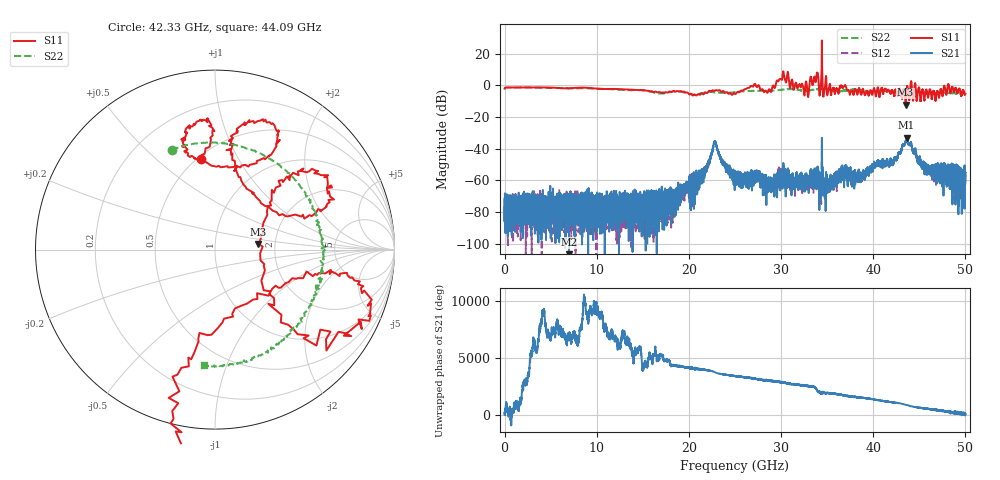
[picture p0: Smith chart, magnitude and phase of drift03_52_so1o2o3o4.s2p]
!Created with skrf (http://scikit-rf.org).
# Hz S RI R 50.0
!freq ReS11 ImS11 ReS21 ImS21 ReS12 ImS12 ReS22 ImS22
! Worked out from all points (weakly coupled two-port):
!   10000 points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, 5.3 MHz to 50 GHz, reference 50 ohm
!   highest |S21| = -33.03 dB at 43.63 GHz (marker M1); lowest = -115.4 dB at 6.995 GHz (marker M2)
!   lowest |S11| = -12.3 dB at 43.52 GHz (marker M3), VSWR 1.64, Z = 81.6 + j5.55 ohm
!   |S11| at or under -10 dB: 43.484 GHz to 43.55571 GHz (71.72 MHz wide, 0.165 % of centre); 45.13974 GHz to 45.14025 GHz (503.7 kHz wide, 0.00112 % of centre)
!   |S22| runs from -5.9 to -1.3 dB; largest |S21 - S12| = 0.015
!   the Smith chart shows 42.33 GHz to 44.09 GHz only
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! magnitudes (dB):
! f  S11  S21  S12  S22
! 5.3 MHz  -2.1  -76.9  -71.8  -2.1
! 6.995 GHz  -1.9  -115.4  -76.7  -2.0
! 8.34 GHz  -1.5  -75.5  -71.7  -1.9
! 16.67 GHz  -4.4  -79.3  -79.2  -5.2
! 20.89 GHz  -6.1  -65.3  -59.0  -5.7
! 21.96 GHz  -4.9  -51.7  -52.6  -4.4
! 22.82 GHz  -3.4  -35.6  -35.3  -4.5
! 25.01 GHz  -5.5  -58.6  -58.6  -4.3
! 27.01 GHz  -0.5  -58.5  -56.5  -3.6
! 28.92 GHz  -4.2  -58.7  -62.7  -3.5
! 30.14 GHz  4.4  -59.4  -58.3  -2.8
! 32.74 GHz  2.0  -58.6  -65.9  -3.3
! 33.34 GHz  2.6  -60.0  -57.1  -2.9
! 33.82 GHz  4.0  -55.9  -59.8  -2.5
! 35 GHz  -6.1  -59.3  -60.8  -2.4
! 36.51 GHz  -0.4  -55.0  -55.1  -3.7
! 38.47 GHz  -1.7  -54.9  -57.2  -3.0
! 41.67 GHz  -3.0  -49.3  -50.2  -3.6
! 43.52 GHz  -12.3  -35.5  -35.6  -4.2
! 43.63 GHz  -2.2  -33.0  -33.5  -4.2
! 45.82 GHz  -3.4  -52.4  -51.9  -5.3
! 50 GHz  -5.3  -55.1  -61.6  -4.9
